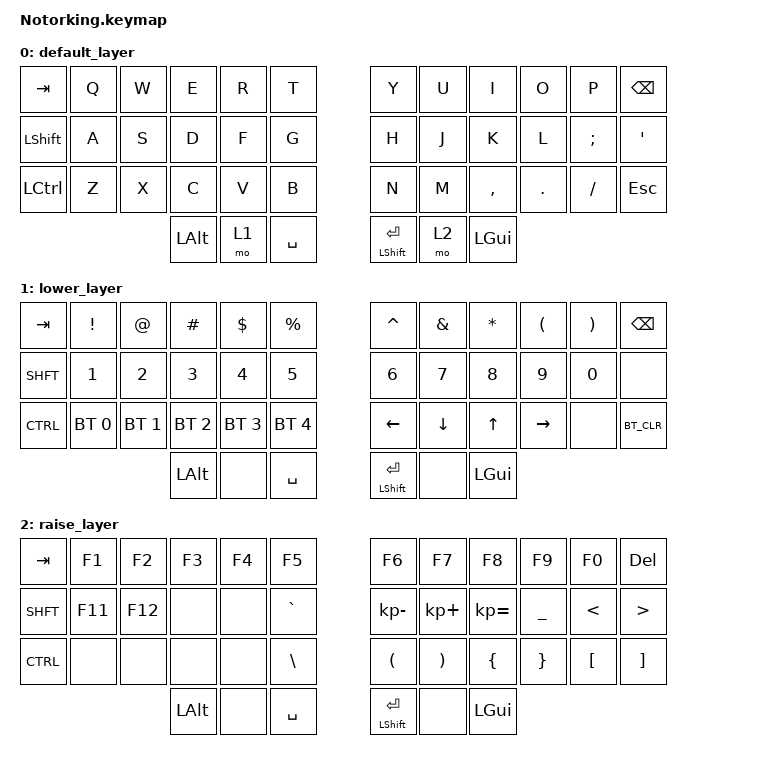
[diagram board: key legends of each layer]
/*
 * Copyright (c) 2020 The ZMK Contributors
 *
 * SPDX-License-Identifier: MIT
 */

#include <behaviors.dtsi>
#include <dt-bindings/zmk/keys.h>
#include <dt-bindings/zmk/bt.h>

/ {
        keymap {
                compatible = "zmk,keymap";

                default_layer {
// -----------------------------------------------------------------------------------------
// |  TAB |  Q  |  W  |  E  |  R  |  T  |   |  Y  |  U   |  I  |  O  |  P  | BKSP |
// | SHFT |  A  |  S  |  D  |  F  |  G  |   |  H  |  J   |  K  |  L  |  ;  |  '   |
// | CTRL |  Z  |  X  |  C  |  V  |  B  |   |  N  |  M   |  ,  |  .  |  /  | ESC  |
//                    | ALT | LWR | SPC |   |SHENT| RSE  | GUI |
                        bindings = <
        &kp TAB   &kp Q &kp W &kp E &kp R &kp T   &kp Y &kp U  &kp I     &kp O   &kp P    &kp BSPC
        &kp LSHIFT &kp A &kp S &kp D &kp F &kp G   &kp H &kp J  &kp K     &kp L   &kp SEMI &kp SQT
        &kp LCTRL &kp Z &kp X &kp C &kp V &kp B   &kp N &kp M  &kp COMMA &kp DOT &kp FSLH &kp ESC
                        &kp LALT &mo 1 &kp SPACE   &mt LSHFT RET &mo 2 &kp LGUI
                        >;
                };
                lower_layer {
// -----------------------------------------------------------------------------------------
// |  TAB | EXCL |  AT  | HASH | DLLR | PRCNT|   |CARET | AMPS | STAR | LPAR | RPAR | BKSP |
// | SHFT |  N1  |  N2  |  N3  |  N4  |  N5  |   |  N6  |  N7  |  N8  |  N9  |  N0  |      |
// | CTRL |  BT1 |  BT2 |  BT3 |  BT4 |  BT5 |   | LEFT | DOWN |  UP  |RIGHT |      |BT_CLR|
//                      | ALT  |      |  SPC |   |SHENT |      | GUI  |
                        bindings = <
        &kp TAB         &kp EXCL        &kp AT          &kp HASH        &kp DLLR        &kp PRCNT               &kp CARET       &kp AMPS        &kp STAR        &kp LPAR        &kp RPAR        &kp BSPC
        &kp SHFT        &kp N1          &kp N2          &kp N3          &kp N4          &kp N5                  &kp N6          &kp N7          &kp N8          &kp N9          &kp N0          &none
        &kp CTRL        &bt BT_SEL 0    &bt BT_SEL 1    &bt BT_SEL 2    &bt BT_SEL 3    &bt BT_SEL 4            &kp LEFT        &kp DOWN        &kp UP          &kp RIGHT       &none          &kp BT_CLR
                                                        &kp LALT        &none          &kp SPACE               &mt LSHFT RET   &none          &kp LGUI
                        >;
                };

                raise_layer {
// -----------------------------------------------------------------------------------------
// |  TAB |  F1  |  F2  |  F3  |  F4  |  F5  |   |   F6   |  F7   |   F8   |  F9  |  F10 | DEL  |
// | SHFT |  F11 | F12  |      |      | GRAVE|   |KP_MINUS|KP_PLUS|KP_EQUAL|UNDER |  LT  | GT   |
// | CTRL |      |      |      |      | BSLH |   |  LPAR  | RPAR  |  LBRC  | RBRC | LBKT | RBKT |
//                      |  ALT |      | SPC  |   |  SHENT |       |  GUI   |
                        bindings = <
        &kp TAB         &kp F1          &kp F2          &kp F3          &kp F4          &kp F5                  &kp F6          &kp F7          &kp F8          &kp F9          &kp F0          &kp DEL
        &kp SHFT        &kp F11         &kp F12         &none          &none          &kp GRAVE               &kp KP_MINUS    &kp KP_PLUS     &kp KP_EQUAL    &kp UNDER       &kp LT          &kp GT
        &kp CTRL        &none          &none          &none          &none          &kp BSLH                &kp LPAR        &kp RPAR        &kp LBRC        &kp RBRC        &kp LBKT        &kp RBKT
                                                        &kp LALT        &none          &kp SPC                 &mt LSHFT RET   &none          &kp LGUI
                        >;
                };
//                combo_layer {
        //
//// -----------------------------------------------------------------------------------------
//// | TAB |  C_MUTE  |      |      |      |        |   |     |    |    |    |PSCRN| DEL|
//// | SHFT| C_VOL_UP |C_PREV|C_PLAY|C_NEXT|C_BRI_UP|   |     |    |    |    |     |    |
//// | CTRL|C_VOL_DOWN|C_PREV|C_PLAY|C_NEXT|C_BRI_DN|   |     |    |    |    |     |    |
////                         |  ALT |      |  SPC   |   |SHENT|    | GUI|
//                        bindings = <
//        &kp TAB         &kp C_MUTE      &none          &none          &none          &none                  &none          &none          &none          &none          &kp PSCRN       &kp DEL
//        &bt SHFT        &kp C_VOL_UP    &kp C_PREV      &kp C_PLAY      &kp C_NEXT      &kp C_BRI_UP            &none          &none          &none          &none          &none          &none
//        &kp CTRL        &kp C_VOL_DOWN  &kp C_PREV      &kp C_PLAY      &kp C_NEXT      &kp C_BRI_DN            &none          &none          &none          &none          &none          &trans
//                                                        &kp LALT        &trans          &kp SPC                 &mt LSHFT RET   &trans          &kp LGUI
//                        >;
//                };
        };
};
